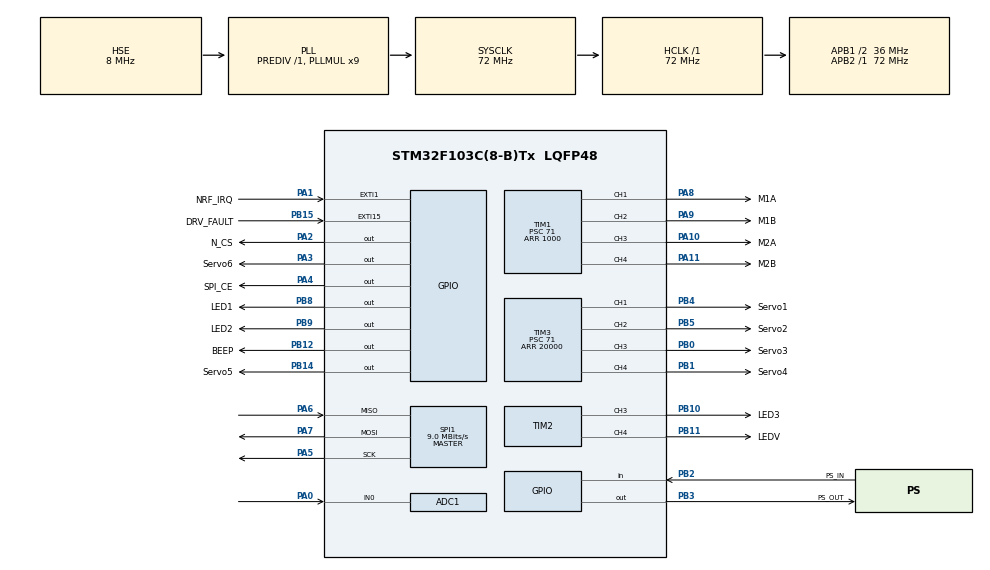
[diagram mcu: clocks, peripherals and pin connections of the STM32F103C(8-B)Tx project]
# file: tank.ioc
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ADC1.Channel-0\#ChannelRegularConversion=ADC_CHANNEL_0
ADC1.NbrOfConversion=1
ADC1.NbrOfConversionFlag=1
ADC1.Rank-0\#ChannelRegularConversion=1
ADC1.SamplingTime-0\#ChannelRegularConversion=ADC_SAMPLETIME_239CYCLES_5
ADC1.master=1
FREERTOS.Tasks01=defaultTask,0,128,StartDefaultTask,Default,NULL,Dynamic,NULL,NULL
Mcu.Family=STM32F1
Mcu.Name=STM32F103C(8-B)Tx
Mcu.Package=LQFP48
NVIC.EXTI15_10_IRQn=true\:7\:0\:true\:false\:true\:true\:true\:true
NVIC.EXTI1_IRQn=true\:6\:0\:true\:false\:true\:true\:true\:true
NVIC.PriorityGroup=NVIC_PRIORITYGROUP_4
NVIC.TIM4_IRQn=true\:0\:0\:false\:false\:true\:false\:false\:true
NVIC.TimeBase=TIM4_IRQn
NVIC.TimeBaseIP=TIM4
PA0-WKUP.Signal=ADCx_IN0
PA1.GPIO_Label=NRF_IRQ
PA1.GPIO_ModeDefaultEXTI=GPIO_MODE_IT_FALLING
PA1.GPIO_PuPd=GPIO_PULLUP
PA1.Signal=GPXTI1
PA10.GPIO_Label=M2A
PA10.Signal=S_TIM1_CH3
PA11.GPIO_Label=M2B
PA11.Signal=S_TIM1_CH4
PA13.Mode=Serial_Wire
PA13.Signal=SYS_JTMS-SWDIO
PA14.Mode=Serial_Wire
PA14.Signal=SYS_JTCK-SWCLK
PA2.GPIO_Label=N_CS
PA2.GPIO_Speed=GPIO_SPEED_FREQ_HIGH
PA2.PinState=GPIO_PIN_SET
PA2.Signal=GPIO_Output
PA3.GPIO_Label=Servo6
PA3.GPIO_Speed=GPIO_SPEED_FREQ_HIGH
PA3.Signal=GPIO_Output
PA4.GPIO_Label=SPI_CE
PA4.GPIO_Speed=GPIO_SPEED_FREQ_HIGH
PA4.PinState=GPIO_PIN_SET
PA4.Signal=GPIO_Output
PA5.Mode=Full_Duplex_Master
PA5.Signal=SPI1_SCK
PA6.Mode=Full_Duplex_Master
PA6.Signal=SPI1_MISO
PA7.Mode=Full_Duplex_Master
PA7.Signal=SPI1_MOSI
PA8.GPIO_Label=M1A
PA8.Signal=S_TIM1_CH1
PA9.GPIO_Label=M1B
PA9.Signal=S_TIM1_CH2
PB0.GPIO_Label=Servo3
PB0.Signal=S_TIM3_CH3
PB1.GPIO_Label=Servo4
PB1.Signal=S_TIM3_CH4
PB10.GPIO_Label=LED3
PB10.Signal=S_TIM2_CH3
PB11.GPIO_Label=LEDV
PB11.Signal=S_TIM2_CH4
PB12.GPIO_Label=BEEP
PB12.GPIO_Speed=GPIO_SPEED_FREQ_HIGH
PB12.Signal=GPIO_Output
PB14.GPIO_Label=Servo5
PB14.GPIO_Speed=GPIO_SPEED_FREQ_HIGH
PB14.Signal=GPIO_Output
PB15.GPIO_Label=DRV_FAULT
PB15.GPIO_PuPd=GPIO_PULLUP
PB15.Signal=GPXTI15
PB2.GPIO_Label=PS_IN
PB2.Signal=GPIO_Input
PB3.GPIO_Label=PS_OUT
PB3.GPIO_Speed=GPIO_SPEED_FREQ_HIGH
PB3.Signal=GPIO_Output
PB4.GPIO_Label=Servo1
PB4.Signal=S_TIM3_CH1
PB5.GPIO_Label=Servo2
PB5.Signal=S_TIM3_CH2
PB8.GPIO_Label=LED1
PB8.GPIO_ModeDefaultOutputPP=GPIO_MODE_OUTPUT_OD
PB8.GPIO_PuPd=GPIO_PULLUP
PB8.GPIO_Speed=GPIO_SPEED_FREQ_HIGH
PB8.PinState=GPIO_PIN_SET
PB8.Signal=GPIO_Output
PB9.GPIO_Label=LED2
PB9.GPIO_ModeDefaultOutputPP=GPIO_MODE_OUTPUT_OD
PB9.GPIO_PuPd=GPIO_PULLUP
PB9.GPIO_Speed=GPIO_SPEED_FREQ_HIGH
PB9.PinState=GPIO_PIN_SET
PB9.Signal=GPIO_Output
PD0-OSC_IN.Mode=HSE-External-Oscillator
PD0-OSC_IN.Signal=RCC_OSC_IN
PD1-OSC_OUT.Mode=HSE-External-Oscillator
PD1-OSC_OUT.Signal=RCC_OSC_OUT
ProjectManager.HeapSize=0x200
ProjectManager.StackSize=0x400
ProjectManager.TargetToolchain=MDK-ARM V5.27
RCC.ADCPresc=RCC_ADCPCLK2_DIV6
RCC.AHBFreq_Value=72000000
RCC.APB1CLKDivider=RCC_HCLK_DIV2
RCC.APB1Freq_Value=36000000
RCC.APB1TimFreq_Value=72000000
RCC.APB2Freq_Value=72000000
RCC.APB2TimFreq_Value=72000000
RCC.HCLKFreq_Value=72000000
RCC.PLLMUL=RCC_PLL_MUL9
RCC.PLLSourceVirtual=RCC_PLLSOURCE_HSE
RCC.SYSCLKFreq_VALUE=72000000
RCC.SYSCLKSource=RCC_SYSCLKSOURCE_PLLCLK
RCC.USBFreq_Value=72000000
SH.ADCx_IN0.0=ADC1_IN0,IN0
SH.S_TIM1_CH1.0=TIM1_CH1,PWM Generation1 CH1
SH.S_TIM1_CH2.0=TIM1_CH2,PWM Generation2 CH2
SH.S_TIM1_CH3.0=TIM1_CH3,PWM Generation3 CH3
SH.S_TIM1_CH4.0=TIM1_CH4,PWM Generation4 CH4
SH.S_TIM2_CH3.0=TIM2_CH3,PWM Generation3 CH3
SH.S_TIM2_CH4.0=TIM2_CH4,PWM Generation4 CH4
SH.S_TIM3_CH1.0=TIM3_CH1,PWM Generation1 CH1
SH.S_TIM3_CH2.0=TIM3_CH2,PWM Generation2 CH2
SH.S_TIM3_CH3.0=TIM3_CH3,PWM Generation3 CH3
SH.S_TIM3_CH4.0=TIM3_CH4,PWM Generation4 CH4
SPI1.BaudRatePrescaler=SPI_BAUDRATEPRESCALER_8
SPI1.CalculateBaudRate=9.0 MBits/s
SPI1.Direction=SPI_DIRECTION_2LINES
SPI1.Mode=SPI_MODE_MASTER
SPI1.VirtualType=VM_MASTER
TIM1.Channel-PWM\ Generation1\ CH1=TIM_CHANNEL_1
TIM1.Channel-PWM\ Generation2\ CH2=TIM_CHANNEL_2
TIM1.Channel-PWM\ Generation3\ CH3=TIM_CHANNEL_3
TIM1.Channel-PWM\ Generation4\ CH4=TIM_CHANNEL_4
TIM1.Period=1000
TIM1.Prescaler=71
TIM2.Channel-PWM\ Generation3\ CH3=TIM_CHANNEL_3
TIM2.Channel-PWM\ Generation4\ CH4=TIM_CHANNEL_4
TIM3.Channel-PWM\ Generation1\ CH1=TIM_CHANNEL_1
TIM3.Channel-PWM\ Generation2\ CH2=TIM_CHANNEL_2
TIM3.Channel-PWM\ Generation3\ CH3=TIM_CHANNEL_3
TIM3.Channel-PWM\ Generation4\ CH4=TIM_CHANNEL_4
TIM3.Period=20000
TIM3.Prescaler=71
TIM3.Pulse-PWM\ Generation1\ CH1=1000
VP_FREERTOS_VS_CMSIS_V1.Mode=CMSIS_V1
VP_SYS_VS_tim4.Mode=TIM4
VP_TIM1_VS_ClockSourceINT.Mode=Internal
VP_TIM2_VS_ClockSourceINT.Mode=Internal
VP_TIM3_VS_ClockSourceINT.Mode=Internal
board=custom

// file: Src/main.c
/* USER CODE BEGIN Header */
/**
  ******************************************************************************
  * @file           : main.c
  * @brief          : Main program body
  ******************************************************************************
  * @attention
  *
  * <h2><center>&copy; Copyright (c) 2021 STMicroelectronics.
  * All rights reserved.</center></h2>
  *
  * This software component is licensed by ST under Ultimate Liberty license
  * SLA0044, the "License"; You may not use this file except in compliance with
  * the License. You may obtain a copy of the License at:
  *                             www.st.com/SLA0044
  *
  ******************************************************************************
  */
/* USER CODE END Header */
#include "main.h"
#include "cmsis_os.h"

/* USER CODE BEGIN Includes */
#include "power.h"
#include "24l01.h"
#include "motor.h"
/* USER CODE END Includes */

ADC_HandleTypeDef hadc1;

SPI_HandleTypeDef hspi1;

TIM_HandleTypeDef htim1;
TIM_HandleTypeDef htim2;
TIM_HandleTypeDef htim3;

osThreadId defaultTaskHandle;
/* USER CODE BEGIN PV */
osThreadId PowerTaskHandle;

osThreadId WireLessTaskHandle;

osThreadId MotorCtrlTaskHandle;

SemaphoreHandle_t BinaryNRRXRD_Handle =NULL;

SemaphoreHandle_t BinaryNRTXDS_Handle =NULL;

QueueHandle_t NrfRecQueue_Queue =NULL;

/* USER CODE END PV */

void SystemClock_Config(void);
static void MX_GPIO_Init(void);
static void MX_ADC1_Init(void);
static void MX_SPI1_Init(void);
static void MX_TIM1_Init(void);
static void MX_TIM3_Init(void);
static void MX_TIM2_Init(void);
void StartDefaultTask(void const * argument);

int main(void)
{

  /* MCU Configuration--------------------------------------------------------*/

  /* Reset of all peripherals, Initializes the Flash interface and the Systick. */
  HAL_Init();

  /* Configure the system clock */
  SystemClock_Config();

  /* Initialize all configured peripherals */
  MX_GPIO_Init();
  MX_ADC1_Init();
  MX_SPI1_Init();
  MX_TIM1_Init();
  MX_TIM3_Init();
  MX_TIM2_Init();
  /* USER CODE BEGIN 2 */
	HAL_ADCEx_Calibration_Start(&hadc1);
  /* USER CODE END 2 */

  /* Create the thread(s) */
  /* definition and creation of defaultTask */
  osThreadDef(defaultTask, StartDefaultTask, osPriorityNormal, 0, 128);
  defaultTaskHandle = osThreadCreate(osThread(defaultTask), NULL);

  /* Start scheduler */
  osKernelStart();

  /* We should never get here as control is now taken by the scheduler */
  /* Infinite loop */
  while (1)
  {

  }
}

void SystemClock_Config(void)
{
  RCC_OscInitTypeDef RCC_OscInitStruct = {0};
  RCC_ClkInitTypeDef RCC_ClkInitStruct = {0};
  RCC_PeriphCLKInitTypeDef PeriphClkInit = {0};

  /** Initializes the RCC Oscillators according to the specified parameters
  * in the RCC_OscInitTypeDef structure.
  */
  RCC_OscInitStruct.OscillatorType = RCC_OSCILLATORTYPE_HSE;
  RCC_OscInitStruct.HSEState = RCC_HSE_ON;
  RCC_OscInitStruct.HSEPredivValue = RCC_HSE_PREDIV_DIV1;
  RCC_OscInitStruct.HSIState = RCC_HSI_ON;
  RCC_OscInitStruct.PLL.PLLState = RCC_PLL_ON;
  RCC_OscInitStruct.PLL.PLLSource = RCC_PLLSOURCE_HSE;
  RCC_OscInitStruct.PLL.PLLMUL = RCC_PLL_MUL9;
  if (HAL_RCC_OscConfig(&RCC_OscInitStruct) != HAL_OK)
  {
    Error_Handler();
  }
  /** Initializes the CPU, AHB and APB buses clocks
  */
  RCC_ClkInitStruct.ClockType = RCC_CLOCKTYPE_HCLK|RCC_CLOCKTYPE_SYSCLK
                              |RCC_CLOCKTYPE_PCLK1|RCC_CLOCKTYPE_PCLK2;
  RCC_ClkInitStruct.SYSCLKSource = RCC_SYSCLKSOURCE_PLLCLK;
  RCC_ClkInitStruct.AHBCLKDivider = RCC_SYSCLK_DIV1;
  RCC_ClkInitStruct.APB1CLKDivider = RCC_HCLK_DIV2;
  RCC_ClkInitStruct.APB2CLKDivider = RCC_HCLK_DIV1;

  if (HAL_RCC_ClockConfig(&RCC_ClkInitStruct, FLASH_LATENCY_2) != HAL_OK)
  {
    Error_Handler();
  }
  PeriphClkInit.PeriphClockSelection = RCC_PERIPHCLK_ADC;
  PeriphClkInit.AdcClockSelection = RCC_ADCPCLK2_DIV6;
  if (HAL_RCCEx_PeriphCLKConfig(&PeriphClkInit) != HAL_OK)
  {
    Error_Handler();
  }
}

static void MX_ADC1_Init(void)
{

  ADC_ChannelConfTypeDef sConfig = {0};

  /** Common config
  */
  hadc1.Instance = ADC1;
  hadc1.Init.ScanConvMode = ADC_SCAN_DISABLE;
  hadc1.Init.ContinuousConvMode = DISABLE;
  hadc1.Init.DiscontinuousConvMode = DISABLE;
  hadc1.Init.ExternalTrigConv = ADC_SOFTWARE_START;
  hadc1.Init.DataAlign = ADC_DATAALIGN_RIGHT;
  hadc1.Init.NbrOfConversion = 1;
  if (HAL_ADC_Init(&hadc1) != HAL_OK)
  {
    Error_Handler();
  }
  /** Configure Regular Channel
  */
  sConfig.Channel = ADC_CHANNEL_0;
  sConfig.Rank = ADC_REGULAR_RANK_1;
  sConfig.SamplingTime = ADC_SAMPLETIME_239CYCLES_5;
  if (HAL_ADC_ConfigChannel(&hadc1, &sConfig) != HAL_OK)
  {
    Error_Handler();
  }

}

static void MX_SPI1_Init(void)
{

  /* SPI1 parameter configuration*/
  hspi1.Instance = SPI1;
  hspi1.Init.Mode = SPI_MODE_MASTER;
  hspi1.Init.Direction = SPI_DIRECTION_2LINES;
  hspi1.Init.DataSize = SPI_DATASIZE_8BIT;
  hspi1.Init.CLKPolarity = SPI_POLARITY_LOW;
  hspi1.Init.CLKPhase = SPI_PHASE_1EDGE;
  hspi1.Init.NSS = SPI_NSS_SOFT;
  hspi1.Init.BaudRatePrescaler = SPI_BAUDRATEPRESCALER_8;
  hspi1.Init.FirstBit = SPI_FIRSTBIT_MSB;
  hspi1.Init.TIMode = SPI_TIMODE_DISABLE;
  hspi1.Init.CRCCalculation = SPI_CRCCALCULATION_DISABLE;
  hspi1.Init.CRCPolynomial = 10;
  if (HAL_SPI_Init(&hspi1) != HAL_OK)
  {
    Error_Handler();
  }
  /* USER CODE BEGIN SPI1_Init 2 */
	 __HAL_SPI_ENABLE(&hspi1);
	NRF24L01_CEH(); 	//使能24L01
	NRF24L01_CSNH();	//SPI片选取消
  /* USER CODE END SPI1_Init 2 */

}

static void MX_TIM1_Init(void)
{

  TIM_ClockConfigTypeDef sClockSourceConfig = {0};
  TIM_MasterConfigTypeDef sMasterConfig = {0};
  TIM_OC_InitTypeDef sConfigOC = {0};
  TIM_BreakDeadTimeConfigTypeDef sBreakDeadTimeConfig = {0};

  htim1.Instance = TIM1;
  htim1.Init.Prescaler = 71;
  htim1.Init.CounterMode = TIM_COUNTERMODE_UP;
  htim1.Init.Period = 100;
  htim1.Init.ClockDivision = TIM_CLOCKDIVISION_DIV1;
  htim1.Init.RepetitionCounter = 0;
  htim1.Init.AutoReloadPreload = TIM_AUTORELOAD_PRELOAD_DISABLE;
  if (HAL_TIM_Base_Init(&htim1) != HAL_OK)
  {
    Error_Handler();
  }
  sClockSourceConfig.ClockSource = TIM_CLOCKSOURCE_INTERNAL;
  if (HAL_TIM_ConfigClockSource(&htim1, &sClockSourceConfig) != HAL_OK)
  {
    Error_Handler();
  }
  if (HAL_TIM_PWM_Init(&htim1) != HAL_OK)
  {
    Error_Handler();
  }
  sMasterConfig.MasterOutputTrigger = TIM_TRGO_RESET;
  sMasterConfig.MasterSlaveMode = TIM_MASTERSLAVEMODE_DISABLE;
  if (HAL_TIMEx_MasterConfigSynchronization(&htim1, &sMasterConfig) != HAL_OK)
  {
    Error_Handler();
  }
  sConfigOC.OCMode = TIM_OCMODE_PWM1;
  sConfigOC.Pulse = 0;
  sConfigOC.OCPolarity = TIM_OCPOLARITY_HIGH;
  sConfigOC.OCNPolarity = TIM_OCNPOLARITY_HIGH;
  sConfigOC.OCFastMode = TIM_OCFAST_DISABLE;
  sConfigOC.OCIdleState = TIM_OCIDLESTATE_RESET;
  sConfigOC.OCNIdleState = TIM_OCNIDLESTATE_RESET;
  if (HAL_TIM_PWM_ConfigChannel(&htim1, &sConfigOC, TIM_CHANNEL_1) != HAL_OK)
  {
    Error_Handler();
  }
  if (HAL_TIM_PWM_ConfigChannel(&htim1, &sConfigOC, TIM_CHANNEL_2) != HAL_OK)
  {
    Error_Handler();
  }
  if (HAL_TIM_PWM_ConfigChannel(&htim1, &sConfigOC, TIM_CHANNEL_3) != HAL_OK)
  {
    Error_Handler();
  }
  if (HAL_TIM_PWM_ConfigChannel(&htim1, &sConfigOC, TIM_CHANNEL_4) != HAL_OK)
  {
    Error_Handler();
  }
  sBreakDeadTimeConfig.OffStateRunMode = TIM_OSSR_DISABLE;
  sBreakDeadTimeConfig.OffStateIDLEMode = TIM_OSSI_DISABLE;
  sBreakDeadTimeConfig.LockLevel = TIM_LOCKLEVEL_OFF;
  sBreakDeadTimeConfig.DeadTime = 0;
  sBreakDeadTimeConfig.BreakState = TIM_BREAK_DISABLE;
  sBreakDeadTimeConfig.BreakPolarity = TIM_BREAKPOLARITY_HIGH;
  sBreakDeadTimeConfig.AutomaticOutput = TIM_AUTOMATICOUTPUT_DISABLE;
  if (HAL_TIMEx_ConfigBreakDeadTime(&htim1, &sBreakDeadTimeConfig) != HAL_OK)
  {
    Error_Handler();
  }
  HAL_TIM_MspPostInit(&htim1);

}

static void MX_TIM2_Init(void)
{

  TIM_ClockConfigTypeDef sClockSourceConfig = {0};
  TIM_MasterConfigTypeDef sMasterConfig = {0};
  TIM_OC_InitTypeDef sConfigOC = {0};

  htim2.Instance = TIM2;
  htim2.Init.Prescaler = 0;
  htim2.Init.CounterMode = TIM_COUNTERMODE_UP;
  htim2.Init.Period = 65535;
  htim2.Init.ClockDivision = TIM_CLOCKDIVISION_DIV1;
  htim2.Init.AutoReloadPreload = TIM_AUTORELOAD_PRELOAD_DISABLE;
  if (HAL_TIM_Base_Init(&htim2) != HAL_OK)
  {
    Error_Handler();
  }
  sClockSourceConfig.ClockSource = TIM_CLOCKSOURCE_INTERNAL;
  if (HAL_TIM_ConfigClockSource(&htim2, &sClockSourceConfig) != HAL_OK)
  {
    Error_Handler();
  }
  if (HAL_TIM_PWM_Init(&htim2) != HAL_OK)
  {
    Error_Handler();
  }
  sMasterConfig.MasterOutputTrigger = TIM_TRGO_RESET;
  sMasterConfig.MasterSlaveMode = TIM_MASTERSLAVEMODE_DISABLE;
  if (HAL_TIMEx_MasterConfigSynchronization(&htim2, &sMasterConfig) != HAL_OK)
  {
    Error_Handler();
  }
  sConfigOC.OCMode = TIM_OCMODE_PWM1;
  sConfigOC.Pulse = 0;
  sConfigOC.OCPolarity = TIM_OCPOLARITY_HIGH;
  sConfigOC.OCFastMode = TIM_OCFAST_DISABLE;
  if (HAL_TIM_PWM_ConfigChannel(&htim2, &sConfigOC, TIM_CHANNEL_3) != HAL_OK)
  {
    Error_Handler();
  }
  if (HAL_TIM_PWM_ConfigChannel(&htim2, &sConfigOC, TIM_CHANNEL_4) != HAL_OK)
  {
    Error_Handler();
  }
  HAL_TIM_MspPostInit(&htim2);

}

static void MX_TIM3_Init(void)
{

  TIM_ClockConfigTypeDef sClockSourceConfig = {0};
  TIM_MasterConfigTypeDef sMasterConfig = {0};
  TIM_OC_InitTypeDef sConfigOC = {0};

  htim3.Instance = TIM3;
  htim3.Init.Prescaler = 71;
  htim3.Init.CounterMode = TIM_COUNTERMODE_UP;
  htim3.Init.Period = 20000;
  htim3.Init.ClockDivision = TIM_CLOCKDIVISION_DIV1;
  htim3.Init.AutoReloadPreload = TIM_AUTORELOAD_PRELOAD_DISABLE;
  if (HAL_TIM_Base_Init(&htim3) != HAL_OK)
  {
    Error_Handler();
  }
  sClockSourceConfig.ClockSource = TIM_CLOCKSOURCE_INTERNAL;
  if (HAL_TIM_ConfigClockSource(&htim3, &sClockSourceConfig) != HAL_OK)
  {
    Error_Handler();
  }
  if (HAL_TIM_PWM_Init(&htim3) != HAL_OK)
  {
    Error_Handler();
  }
  sMasterConfig.MasterOutputTrigger = TIM_TRGO_RESET;
  sMasterConfig.MasterSlaveMode = TIM_MASTERSLAVEMODE_DISABLE;
  if (HAL_TIMEx_MasterConfigSynchronization(&htim3, &sMasterConfig) != HAL_OK)
  {
    Error_Handler();
  }
  sConfigOC.OCMode = TIM_OCMODE_PWM1;
  sConfigOC.Pulse = 1000;
  sConfigOC.OCPolarity = TIM_OCPOLARITY_HIGH;
  sConfigOC.OCFastMode = TIM_OCFAST_DISABLE;
  if (HAL_TIM_PWM_ConfigChannel(&htim3, &sConfigOC, TIM_CHANNEL_1) != HAL_OK)
  {
    Error_Handler();
  }
  sConfigOC.Pulse = 0;
  if (HAL_TIM_PWM_ConfigChannel(&htim3, &sConfigOC, TIM_CHANNEL_2) != HAL_OK)
  {
    Error_Handler();
  }
  if (HAL_TIM_PWM_ConfigChannel(&htim3, &sConfigOC, TIM_CHANNEL_3) != HAL_OK)
  {
    Error_Handler();
  }
  if (HAL_TIM_PWM_ConfigChannel(&htim3, &sConfigOC, TIM_CHANNEL_4) != HAL_OK)
  {
    Error_Handler();
  }
  HAL_TIM_MspPostInit(&htim3);

}

static void MX_GPIO_Init(void)
{
  GPIO_InitTypeDef GPIO_InitStruct = {0};

  /* GPIO Ports Clock Enable */
  __HAL_RCC_GPIOD_CLK_ENABLE();
  __HAL_RCC_GPIOA_CLK_ENABLE();
  __HAL_RCC_GPIOB_CLK_ENABLE();

  /*Configure GPIO pin Output Level */
  HAL_GPIO_WritePin(GPIOA, N_CS_Pin|SPI_CE_Pin, GPIO_PIN_SET);

  /*Configure GPIO pin Output Level */
  HAL_GPIO_WritePin(Servo6_GPIO_Port, Servo6_Pin, GPIO_PIN_RESET);

  /*Configure GPIO pin Output Level */
  HAL_GPIO_WritePin(GPIOB, BEEP_Pin|Servo5_Pin|PS_OUT_Pin, GPIO_PIN_RESET);

  /*Configure GPIO pin Output Level */
  HAL_GPIO_WritePin(GPIOB, LED1_Pin|LED2_Pin, GPIO_PIN_SET);

  /*Configure GPIO pin : NRF_IRQ_Pin */
  GPIO_InitStruct.Pin = NRF_IRQ_Pin;
  GPIO_InitStruct.Mode = GPIO_MODE_IT_FALLING;
  GPIO_InitStruct.Pull = GPIO_PULLUP;
  HAL_GPIO_Init(NRF_IRQ_GPIO_Port, &GPIO_InitStruct);

  /*Configure GPIO pins : N_CS_Pin Servo6_Pin SPI_CE_Pin */
  GPIO_InitStruct.Pin = N_CS_Pin|Servo6_Pin|SPI_CE_Pin;
  GPIO_InitStruct.Mode = GPIO_MODE_OUTPUT_PP;
  GPIO_InitStruct.Pull = GPIO_NOPULL;
  GPIO_InitStruct.Speed = GPIO_SPEED_FREQ_HIGH;
  HAL_GPIO_Init(GPIOA, &GPIO_InitStruct);

  /*Configure GPIO pin : PS_IN_Pin */
  GPIO_InitStruct.Pin = PS_IN_Pin;
  GPIO_InitStruct.Mode = GPIO_MODE_INPUT;
  GPIO_InitStruct.Pull = GPIO_NOPULL;
  HAL_GPIO_Init(PS_IN_GPIO_Port, &GPIO_InitStruct);

  /*Configure GPIO pins : BEEP_Pin Servo5_Pin PS_OUT_Pin */
  GPIO_InitStruct.Pin = BEEP_Pin|Servo5_Pin|PS_OUT_Pin;
  GPIO_InitStruct.Mode = GPIO_MODE_OUTPUT_PP;
  GPIO_InitStruct.Pull = GPIO_NOPULL;
  GPIO_InitStruct.Speed = GPIO_SPEED_FREQ_HIGH;
  HAL_GPIO_Init(GPIOB, &GPIO_InitStruct);

  /*Configure GPIO pin : DRV_FAULT_Pin */
  GPIO_InitStruct.Pin = DRV_FAULT_Pin;
  GPIO_InitStruct.Mode = GPIO_MODE_IT_RISING;
  GPIO_InitStruct.Pull = GPIO_NOPULL;
  HAL_GPIO_Init(DRV_FAULT_GPIO_Port, &GPIO_InitStruct);

  /*Configure GPIO pins : LED1_Pin LED2_Pin */
  GPIO_InitStruct.Pin = LED1_Pin|LED2_Pin;
  GPIO_InitStruct.Mode = GPIO_MODE_OUTPUT_OD;
  GPIO_InitStruct.Pull = GPIO_PULLUP;
  GPIO_InitStruct.Speed = GPIO_SPEED_FREQ_HIGH;
  HAL_GPIO_Init(GPIOB, &GPIO_InitStruct);

  /* EXTI interrupt init*/
  HAL_NVIC_SetPriority(EXTI1_IRQn, 6, 0);
  HAL_NVIC_EnableIRQ(EXTI1_IRQn);

  HAL_NVIC_SetPriority(EXTI15_10_IRQn, 7, 0);
  HAL_NVIC_EnableIRQ(EXTI15_10_IRQn);

}

void StartDefaultTask(void const * argument)
{
  /* USER CODE BEGIN 5 */
	PowerInit();

	BinaryNRRXRD_Handle = xSemaphoreCreateBinary();

	BinaryNRTXDS_Handle = xSemaphoreCreateBinary();

	NrfRecQueue_Queue = xQueueCreate((UBaseType_t ) NrfReceQueueLeng,(UBaseType_t ) NrfReceQueueSize);

	osThreadDef(PowerTaskH, PowerTask, osPriorityLow, 0, 128);
	PowerTaskHandle = osThreadCreate(osThread(PowerTaskH), NULL);

	osThreadDef(WireLessTaskH, WireLessTask, osPriorityNormal, 0, 128);
	WireLessTaskHandle = osThreadCreate(osThread(WireLessTaskH), NULL);

	osThreadDef(MotorCtrlTaskH, MotorCtrlTask, osPriorityAboveNormal, 0, 128);
	MotorCtrlTaskHandle = osThreadCreate(osThread(MotorCtrlTaskH), NULL);

	osThreadTerminate (defaultTaskHandle);
  /* Infinite loop */
  for(;;)
  {
    osDelay(1);
  }
  /* USER CODE END 5 */
}

 /**
  * @brief  Period elapsed callback in non blocking mode
  * @note   This function is called  when TIM4 interrupt took place, inside
  * HAL_TIM_IRQHandler(). It makes a direct call to HAL_IncTick() to increment
  * a global variable "uwTick" used as application time base.
  * @param  htim : TIM handle
  * @retval None
  */
void HAL_TIM_PeriodElapsedCallback(TIM_HandleTypeDef *htim)
{
  if (htim->Instance == TIM4) {
    HAL_IncTick();
  }
}

void Error_Handler(void)
{
}

/************************ (C) COPYRIGHT STMicroelectronics *****END OF FILE****/
